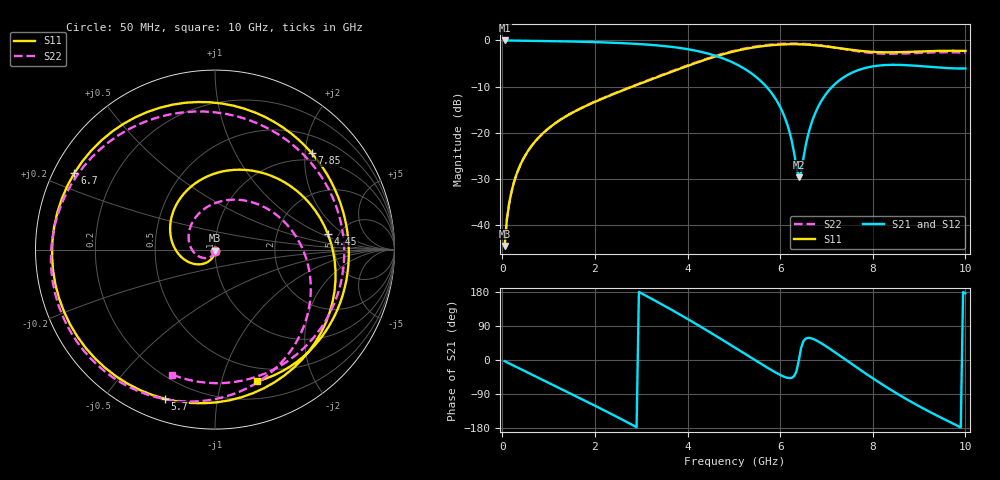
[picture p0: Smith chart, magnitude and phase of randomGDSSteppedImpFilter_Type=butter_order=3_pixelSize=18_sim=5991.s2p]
! freq	dB(S11)	phase(S11)	dB(S12)	phase(S12)
!  dB(S21)	phase(S21)	dB(S22)	phase(S22)
!S-par simulation data
#  GHz  S  DB  R 50
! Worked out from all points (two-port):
!   200 points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, 50 MHz to 10 GHz, reference 50 ohm
!   highest |S21| = -0.01 dB at 50 MHz (marker M1); lowest = -29.6 dB at 6.4 GHz (marker M2)
!   |S21| within 3 dB of the highest: start of sweep to 4.498 GHz
!   lowest |S11| = -44.5 dB at 50 MHz (marker M3), VSWR 1.01, Z = 50 - j0.598 ohm
!   |S11| at or under -10 dB: start of sweep to 2.806 GHz
!   |S22| runs from -44.5 to -0.7 dB; largest |S21 - S12| = 0
!   S11 on the Smith chart (normalised r, x): 50 MHz: 1.00, -0.01; 4.45 GHz: 4.09, +1.21; 5.7 GHz: 0.10, -0.72; 6.7 GHz: 0.06, +0.25; 7.85 GHz: 0.84, +2.14; 10 GHz: 0.36, -1.31
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0.05  -44.47 -87.9  -0.01 -3.1  -0.01 -3.1  -44.50 -89.7
0.2  -32.66 -97.7  -0.02 -12.0  -0.02 -12.0  -32.70 -104.5
0.5  -24.80 -111.6  -0.06 -30.0  -0.06 -30.0  -24.83 -128.7
1.15  -17.87 -139.9  -0.16 -68.9  -0.16 -68.9  -17.86 -179.6
1.75  -14.43 -166.6  -0.29 -105.2  -0.29 -105.2  -14.39 134.2
2.65  -10.61 146.5  -0.61 -161.2  -0.61 -161.2  -10.52 69.2
3.4  -7.74 95.9  -1.12 149.8  -1.12 149.8  -7.63 22.0
3.95  -5.69 51.8  -1.81 111.9  -1.81 111.9  -5.57 -9.7
4.45  -3.95 8.0  -2.87 75.7  -2.87 75.7  -3.83 -38.3
5.05  -2.26 -47.0  -5.13 30.7  -5.13 30.7  -2.13 -73.9
5.4  -1.56 -79.9  -7.27 4.1  -7.27 4.1  -1.42 -95.8
5.7  -1.14 -108.5  -9.98 -18.5  -9.98 -18.5  -0.99 -115.3
6.1  -0.85 -147.6  -16.64 -44.8  -16.64 -44.8  -0.70 -142.6
6.4  -0.83 -177.9  -29.57 -3.1  -29.57 -3.1  -0.69 -164.5
6.7  -0.99 151.4  -17.20 56.1  -17.20 56.1  -0.88 172.2
7.2  -1.57 101.3  -9.29 19.0  -9.29 19.0  -1.58 130.2
7.5  -1.99 73.7  -7.22 -6.6  -7.22 -6.6  -2.10 103.3
7.85  -2.37 45.0  -5.93 -36.0  -5.93 -36.0  -2.60 70.7
8.35  -2.57 10.5  -5.29 -75.7  -5.29 -75.7  -2.89 23.8
8.8  -2.47 -15.7  -5.39 -108.4  -5.39 -108.4  -2.79 -15.9
9.3  -2.28 -41.2  -5.78 -141.4  -5.78 -141.4  -2.59 -56.0
10  -2.27 -72.1  -6.06 176.1  -6.06 176.1  -2.66 -108.9
